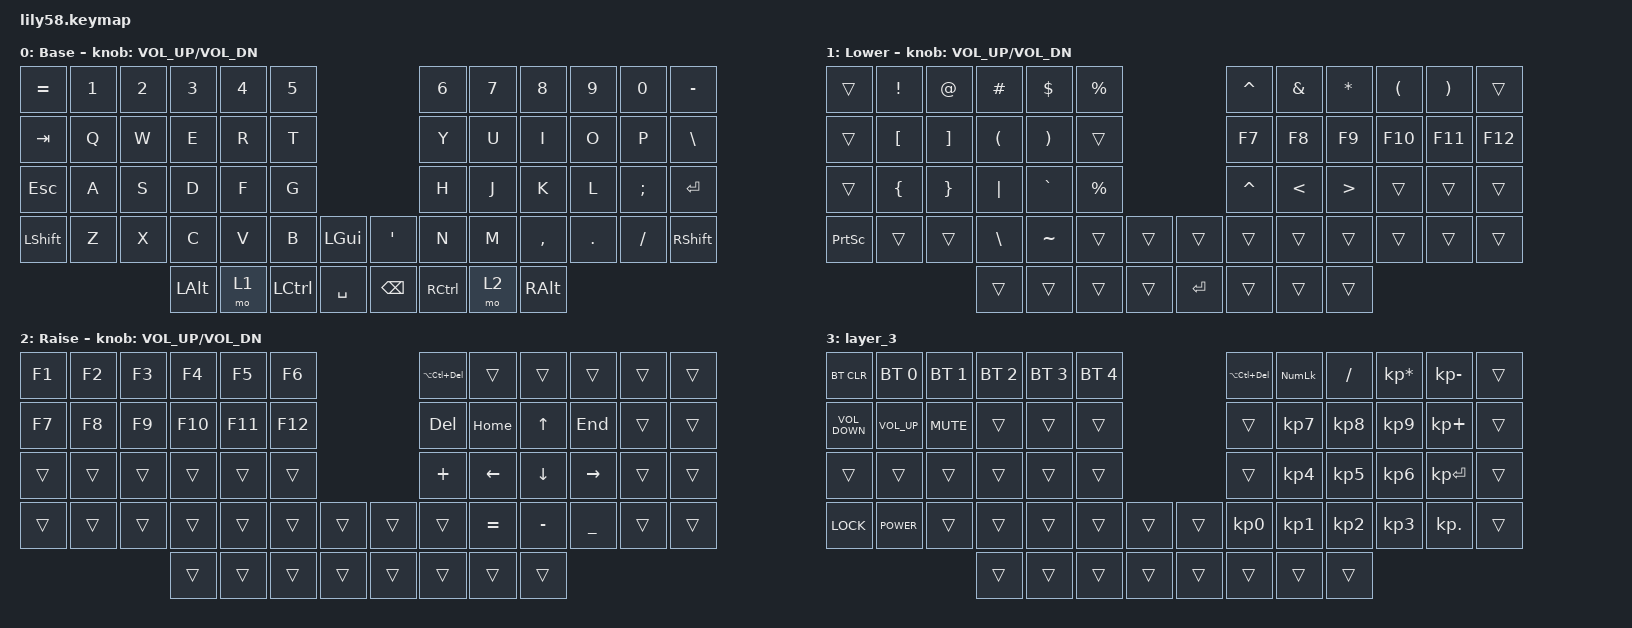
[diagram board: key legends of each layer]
/*
 * Copyright (c) 2020 The ZMK Contributors
 *
 * SPDX-License-Identifier: MIT
 */

#include <behaviors.dtsi>
#include <dt-bindings/zmk/bt.h>
#include <dt-bindings/zmk/keys.h>

/ {
    keymap {
        compatible = "zmk,keymap";

        default_layer {
            display-name = "Base";
            bindings = <
&kp EQUAL   &kp N1  &kp N2  &kp N3    &kp N4  &kp N5                                  &kp N6     &kp N7  &kp N8         &kp N9   &kp N0    &kp MINUS
&kp TAB     &kp Q   &kp W   &kp E     &kp R   &kp T                                   &kp Y      &kp U   &kp I          &kp O    &kp P     &kp BACKSLASH
&kp ESCAPE  &kp A   &kp S   &kp D     &kp F   &kp G                                   &kp H      &kp J   &kp K          &kp L    &kp SEMI  &kp RET
&kp LSHFT   &kp Z   &kp X   &kp C     &kp V   &kp B      &kp LGUI     &kp APOSTROPHE  &kp N      &kp M   &kp COMMA      &kp DOT  &kp FSLH  &kp RSHFT
                            &kp LALT  &mo 1   &kp LCTRL  &kp SPACE    &kp BACKSPACE   &kp RCTRL  &mo 2   &kp RIGHT_ALT
            >;

            sensor-bindings = <&inc_dec_kp C_VOL_UP C_VOL_DN>;
        };

        lower_layer {
            display-name = "Lower";
            bindings = <
&trans           &kp EXCLAMATION   &kp AT_SIGN        &kp HASH              &kp DOLLAR             &kp PERCENT                     &kp CARET  &kp AMPERSAND  &kp ASTERISK      &kp LEFT_PARENTHESIS  &kp RIGHT_PARENTHESIS  &trans
&trans           &kp LEFT_BRACKET  &kp RIGHT_BRACKET  &kp LEFT_PARENTHESIS  &kp RIGHT_PARENTHESIS  &trans                          &kp F7     &kp F8         &kp F9            &kp F10               &kp F11                &kp F12
&trans           &kp LEFT_BRACE    &kp RIGHT_BRACE    &kp PIPE              &kp GRAVE              &kp PRCNT                       &kp CARET  &kp LESS_THAN  &kp GREATER_THAN  &trans                &trans                 &trans
&kp PRINTSCREEN  &trans            &trans             &kp BACKSLASH         &kp TILDE              &trans       &trans    &trans   &trans     &trans         &trans            &trans                &trans                 &trans
                                                      &trans                &trans                 &trans       &trans    &kp RET  &trans     &trans         &trans
            >;

            sensor-bindings = <&inc_dec_kp C_VOL_UP C_VOL_DN>;
        };

        raise_layer {
            display-name = "Raise";
            bindings = <
&kp F1  &kp F2  &kp F3  &kp F4   &kp F5   &kp F6                     &kp LA(LC(DELETE))  &trans     &trans     &trans     &trans  &trans
&kp F7  &kp F8  &kp F9  &kp F10  &kp F11  &kp F12                    &kp DELETE          &kp HOME   &kp UP     &kp END    &trans  &trans
&trans  &trans  &trans  &trans   &trans   &trans                     &kp PLUS            &kp LEFT   &kp DOWN   &kp RIGHT  &trans  &trans
&trans  &trans  &trans  &trans   &trans   &trans   &trans    &trans  &trans              &kp EQUAL  &kp MINUS  &kp UNDER  &trans  &trans
                        &trans   &trans   &trans   &trans    &trans  &trans              &trans     &trans
            >;

            sensor-bindings = <&inc_dec_kp C_VOL_UP C_VOL_DN>;
        };

        layer_3 {
            bindings = <
&bt BT_CLR         &bt BT_SEL 0  &bt BT_SEL 1  &bt BT_SEL 2  &bt BT_SEL 3  &bt BT_SEL 4                    &kp LA(LC(DELETE))  &kp KP_NUMLOCK   &kp SLASH        &kp KP_MULTIPLY  &kp KP_MINUS  &trans
&kp C_VOLUME_DOWN  &kp C_VOL_UP  &kp K_MUTE    &trans        &trans        &trans                          &trans              &kp KP_NUMBER_7  &kp KP_NUMBER_8  &kp KP_NUMBER_9  &kp KP_PLUS   &trans
&trans             &trans        &trans        &trans        &trans        &trans                          &trans              &kp KP_NUMBER_4  &kp KP_NUMBER_5  &kp KP_NUMBER_6  &kp KP_ENTER  &trans
&kp K_LOCK         &kp K_POWER   &trans        &trans        &trans        &trans        &trans    &trans  &kp KP_N0           &kp KP_N1        &kp KP_NUMBER_2  &kp KP_NUMBER_3  &kp KP_DOT    &trans
                                               &trans        &trans        &trans        &trans    &trans  &trans              &trans           &trans
            >;
        };
    };

    conditional_layers {
        compatible = "zmk,conditional-layers";

        Both {
            if-layers = <1 2>;
            then-layer = <3>;
        };
    };
};
